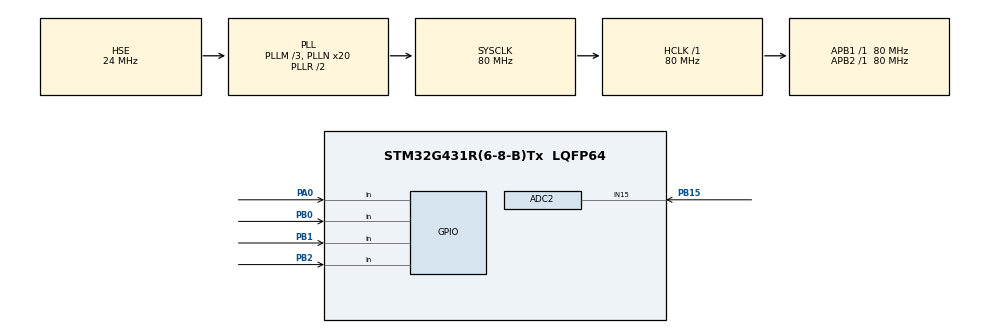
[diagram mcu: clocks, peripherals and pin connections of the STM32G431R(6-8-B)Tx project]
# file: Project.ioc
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ADC2.Channel-0\#ChannelRegularConversion=ADC_CHANNEL_15
ADC2.NbrOfConversionFlag=1
ADC2.OffsetNumber-0\#ChannelRegularConversion=ADC_OFFSET_NONE
ADC2.Rank-0\#ChannelRegularConversion=1
ADC2.SamplingTime-0\#ChannelRegularConversion=ADC_SAMPLETIME_2CYCLES_5
Mcu.Family=STM32G4
Mcu.Name=STM32G431R(6-8-B)Tx
Mcu.Package=LQFP64
NVIC.ADC1_2_IRQn=true\:0\:0\:false\:false\:true\:true\:true\:true
NVIC.PriorityGroup=NVIC_PRIORITYGROUP_4
NVIC.TIM6_DAC_IRQn=true\:15\:0\:true\:false\:true\:true\:true\:true
PA0.GPIO_Mode=GPIO_MODE_INPUT
PA0.GPIO_PuPd=GPIO_PULLUP
PA0.Signal=GPIO_Input
PA13.Mode=Serial_Wire
PA13.Signal=SYS_JTMS-SWDIO
PA14.Mode=Serial_Wire
PA14.Signal=SYS_JTCK-SWCLK
PB0.GPIO_Mode=GPIO_MODE_INPUT
PB0.GPIO_PuPd=GPIO_PULLUP
PB0.Signal=GPIO_Input
PB1.GPIO_Mode=GPIO_MODE_INPUT
PB1.GPIO_PuPd=GPIO_PULLUP
PB1.Signal=GPIO_Input
PB15.Mode=IN15-Single-Ended
PB15.Signal=ADC2_IN15
PB2.GPIO_Mode=GPIO_MODE_INPUT
PB2.GPIO_PuPd=GPIO_PULLUP
PB2.Signal=GPIO_Input
PF0-OSC_IN.Mode=HSE-External-Oscillator
PF0-OSC_IN.Signal=RCC_OSC_IN
PF1-OSC_OUT.Mode=HSE-External-Oscillator
PF1-OSC_OUT.Signal=RCC_OSC_OUT
ProjectManager.HeapSize=0x200
ProjectManager.StackSize=0x400
ProjectManager.TargetToolchain=MDK-ARM V5.32
RCC.ADC12Freq_Value=80000000
RCC.AHBFreq_Value=80000000
RCC.APB1Freq_Value=80000000
RCC.APB1TimFreq_Value=80000000
RCC.APB2Freq_Value=80000000
RCC.APB2TimFreq_Value=80000000
RCC.CortexFreq_Value=80000000
RCC.EXTERNAL_CLOCK_VALUE=12288000
RCC.HCLKFreq_Value=80000000
RCC.HSE_VALUE=24000000
RCC.HSI48_VALUE=48000000
RCC.HSI_VALUE=16000000
RCC.LSE_VALUE=32768
RCC.PLLM=RCC_PLLM_DIV3
RCC.PLLN=20
RCC.PLLSourceVirtual=RCC_PLLSOURCE_HSE
RCC.SYSCLKFreq_VALUE=80000000
RCC.SYSCLKSource=RCC_SYSCLKSOURCE_PLLCLK
RCC.USBFreq_Value=80000000
RCC.VCOOutputFreq_Value=160000000
TIM6.PeriodNoDither=10000-1
TIM6.Prescaler=80-1
VP_SYS_VS_DBSignals.Mode=DisableDeadBatterySignals
VP_TIM6_VS_ClockSourceINT.Mode=Enable_Timer
board=custom

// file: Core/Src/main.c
/* USER CODE BEGIN Header */
/**
 ******************************************************************************
 * @file           : main.c
 * @brief          : Main program body
 ******************************************************************************
 * @attention
 *
 * Copyright (c) 2024 STMicroelectronics.
 * All rights reserved.
 *
 * This software is licensed under terms that can be found in the LICENSE file
 * in the root directory of this software component.
 * If no LICENSE file comes with this software, it is provided AS-IS.
 *
 ******************************************************************************
 */
/* USER CODE END Header */
#include "main.h"
#include "adc.h"
#include "tim.h"
#include "gpio.h"

/* USER CODE BEGIN Includes */
#include "lcd.h"
#include "led.h"
#include "stdio.h"
#include "stdbool.h"
/* USER CODE END Includes */

/* USER CODE BEGIN PTD */
int mode = 0;
double V_max = 3, V_min = 1, V_now, V_change_max, V_change_min;
u32 uwtick, time = 0;
bool start = false;
/* USER CODE END PTD */

/* USER CODE BEGIN PD */
bool check(void)
{
  if (V_change_max - V_change_min >= 1)
    return true;
  return false;
}
/* USER CODE END PD */

void SystemClock_Config(void);

int main(void)
{
  /* USER CODE BEGIN 1 */
  V_change_max = V_max;
  V_change_min = V_min;
  /* USER CODE END 1 */

  /* MCU Configuration--------------------------------------------------------*/

  /* Reset of all peripherals, Initializes the Flash interface and the Systick. */
  HAL_Init();

  /* Configure the system clock */
  SystemClock_Config();

  /* Initialize all configured peripherals */
  MX_GPIO_Init();
  MX_ADC2_Init();
  MX_TIM6_Init();
  /* USER CODE BEGIN 2 */
  led_init();
  LCD_Init();
  LCD_Clear(Black);
  LCD_SetBackColor(Black);
  LCD_SetTextColor(White);
  /* USER CODE END 2 */

  /* Infinite loop */
  /* USER CODE BEGIN WHILE */
  HAL_TIM_Base_Start_IT(&htim6);
  HAL_ADC_Start(&hadc2);
  while (1)
  {
    if (HAL_GPIO_ReadPin(GPIOB, GPIO_PIN_0) == 0)
    {
      while (HAL_GPIO_ReadPin(GPIOB, GPIO_PIN_0) == 0)
        ;
      mode++;
      if (mode == 2)
        mode = 0;
      if (mode == 0)
      {
        if (check())
        {
          V_max = V_change_max;
          V_min = V_change_min;
          led_OFF(2);
        }
        else
        {
          led_ON(2);
        }
      }
    }
    else if (HAL_GPIO_ReadPin(GPIOB, GPIO_PIN_1) == 0)
    {
      while (HAL_GPIO_ReadPin(GPIOB, GPIO_PIN_1) == 0)
        ;
      if (mode == 1)
      {
        V_change_max += 0.1;
        if (V_change_max >= 3.4)
        {
          V_change_max = 0;
        }
      }
    }
    else if (HAL_GPIO_ReadPin(GPIOB, GPIO_PIN_2) == 0)
    {
      while (HAL_GPIO_ReadPin(GPIOB, GPIO_PIN_2) == 0)
        ;
      if (mode == 1)
      {
        V_change_min += 0.1;
        if (V_change_min >= 3.4)
        {
          V_change_min = 0;
        }
      }
    }
    /* USER CODE END WHILE */

    /* USER CODE BEGIN 3 */
    if (start == true)
    {
      while (!((SysTick->CTRL) & (1 << 16)))
        ; // 1ms计时
      time++;
    }
  }
  /* USER CODE END 3 */
}

void SystemClock_Config(void)
{
  RCC_OscInitTypeDef RCC_OscInitStruct = {0};
  RCC_ClkInitTypeDef RCC_ClkInitStruct = {0};

  /** Configure the main internal regulator output voltage
   */
  HAL_PWREx_ControlVoltageScaling(PWR_REGULATOR_VOLTAGE_SCALE1);

  /** Initializes the RCC Oscillators according to the specified parameters
   * in the RCC_OscInitTypeDef structure.
   */
  RCC_OscInitStruct.OscillatorType = RCC_OSCILLATORTYPE_HSE;
  RCC_OscInitStruct.HSEState = RCC_HSE_ON;
  RCC_OscInitStruct.PLL.PLLState = RCC_PLL_ON;
  RCC_OscInitStruct.PLL.PLLSource = RCC_PLLSOURCE_HSE;
  RCC_OscInitStruct.PLL.PLLM = RCC_PLLM_DIV3;
  RCC_OscInitStruct.PLL.PLLN = 20;
  RCC_OscInitStruct.PLL.PLLP = RCC_PLLP_DIV2;
  RCC_OscInitStruct.PLL.PLLQ = RCC_PLLQ_DIV2;
  RCC_OscInitStruct.PLL.PLLR = RCC_PLLR_DIV2;
  if (HAL_RCC_OscConfig(&RCC_OscInitStruct) != HAL_OK)
  {
    Error_Handler();
  }

  /** Initializes the CPU, AHB and APB buses clocks
   */
  RCC_ClkInitStruct.ClockType = RCC_CLOCKTYPE_HCLK | RCC_CLOCKTYPE_SYSCLK | RCC_CLOCKTYPE_PCLK1 | RCC_CLOCKTYPE_PCLK2;
  RCC_ClkInitStruct.SYSCLKSource = RCC_SYSCLKSOURCE_PLLCLK;
  RCC_ClkInitStruct.AHBCLKDivider = RCC_SYSCLK_DIV1;
  RCC_ClkInitStruct.APB1CLKDivider = RCC_HCLK_DIV1;
  RCC_ClkInitStruct.APB2CLKDivider = RCC_HCLK_DIV1;

  if (HAL_RCC_ClockConfig(&RCC_ClkInitStruct, FLASH_LATENCY_2) != HAL_OK)
  {
    Error_Handler();
  }
}

/* USER CODE BEGIN 4 */
char text[30];
void HAL_TIM_PeriodElapsedCallback(TIM_HandleTypeDef *htim)
{
  if (htim->Instance == TIM6)
  {
    V_now = getADC(&hadc2);
    if (V_now >= V_min && start == false)
    {
      start = true;
      time = 0;
    }
    else if ((V_now >= V_max || V_now <= V_min) && start == true)
    {
      start = false;
      time = 0;
    }
    if (mode == 0)
    {
      LCD_DisplayStringLine(Line1, (u8 *)"      Data    ");
      sprintf(text, " V:%.2lfV    ", V_now);
      LCD_DisplayStringLine(Line3, (u8 *)text);
      sprintf(text, " T:%ds        ", time / 1000);
      LCD_DisplayStringLine(Line4, (u8 *)text);
    }
    else if (mode == 1)
    {
      LCD_DisplayStringLine(Line1, (u8 *)"      Para    ");
      sprintf(text, " Vmax:%.1lfV    ", V_change_max);
      LCD_DisplayStringLine(Line3, (u8 *)text);
      sprintf(text, " Vmin:%.1lfV    ", V_change_min);
      LCD_DisplayStringLine(Line4, (u8 *)text);
    }
  }
}
/* USER CODE END 4 */

void Error_Handler(void)
{
  __disable_irq();
  while (1)
  {
  }
}
